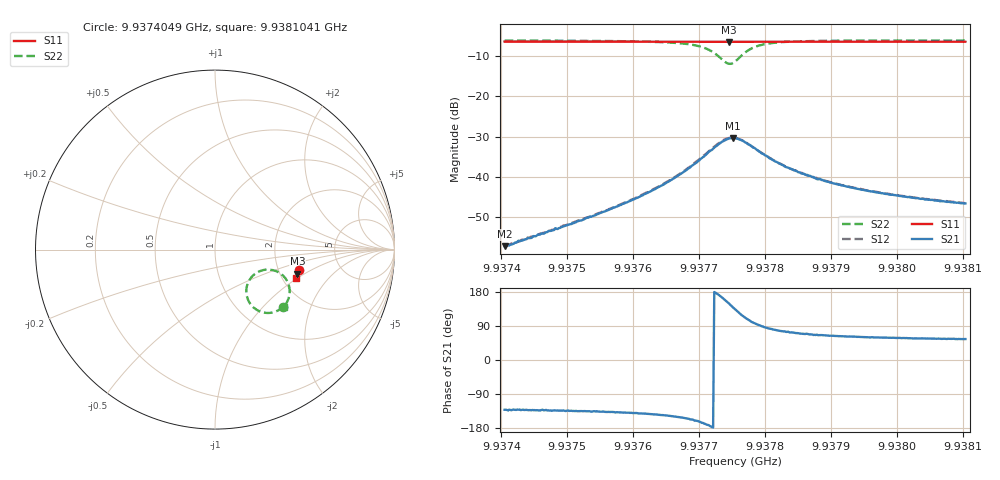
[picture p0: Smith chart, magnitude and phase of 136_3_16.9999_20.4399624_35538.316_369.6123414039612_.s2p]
#  HZ  S  RI  R  50.00
! Rohde & Schwarz Vector Network Analyzer
! Rohde-Schwarz,ZNB20-2Port,1311601062101988,3.16
! Created: UTC 3/20/2024, 10:58:09 PM
! freq[Hz]  re:S11  im:S11  re:S21  im:S21  re:S12  im:S12  re:S22  im:S22
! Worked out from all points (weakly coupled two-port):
!   401 points, 9.9374049 GHz to 9.9381041 GHz, reference 50 ohm
!   highest |S21| = -30.35 dB at 9.937751 GHz (marker M1); lowest = -57.3 dB at 9.9374049 GHz (marker M2)
!   lowest |S11| = -6.4 dB at 9.9377458 GHz (marker M3), VSWR 2.83, Z = 124 - j43.2 ohm
!   |S11| at or under -10 dB: nowhere
!   |S22| runs from -11.9 to -6.0 dB; largest |S21 - S12| = 0.0014
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9.93740491e9  0.4696 -0.1132  -0.0009 -0.00102  -0.000951 -0.00101  0.3815 -0.3184
9.93742588e9  0.4691 -0.1146  -0.00105 -0.0012  -0.00105 -0.00115  0.3794 -0.3204
9.93752202e9  0.4669 -0.1212  -0.00201 -0.00203  -0.00208 -0.0021  0.3655 -0.3309
9.93757621e9  0.4655 -0.1248  -0.00317 -0.00286  -0.00327 -0.00287  0.3529 -0.3386
9.93761117e9  0.4647 -0.1274  -0.00443 -0.00359  -0.00456 -0.00362  0.34 -0.3445
9.93763914e9  0.4639 -0.1292  -0.00609 -0.00436  -0.00626 -0.00432  0.3245 -0.3495
9.93767585e9  0.4627 -0.1319  -0.0101 -0.00526  -0.0104 -0.00516  0.289 -0.3529
9.93770906e9  0.461 -0.1341  -0.018 -0.00365  -0.0185 -0.00346  0.2252 -0.3305
9.93771954e9  0.4602 -0.1345  -0.0215 -0.00114  -0.0224 -0.00058  0.1981 -0.3044
9.93773178e9  0.4593 -0.1347  -0.0257 0.00488  -0.0262 0.00586  0.1757 -0.2493
9.93774052e9  0.4589 -0.1344  -0.0264 0.0113  -0.0268 0.0126  0.1801 -0.1955
9.93774576e9  0.4587 -0.1342  -0.0256 0.0157  -0.0253 0.017  0.1958 -0.1634
9.93775101e9  0.4588 -0.1341  -0.0231 0.0197  -0.0226 0.0208  0.2211 -0.1367
9.9377545e9  0.459 -0.1342  -0.021 0.0218  -0.0203 0.0228  0.2417 -0.1237
9.93776324e9  0.4595 -0.1341  -0.0146 0.0247  -0.0139 0.0255  0.2963 -0.1112
9.93777373e9  0.4602 -0.1347  -0.0076 0.0245  -0.00679 0.025  0.3501 -0.1242
9.93779296e9  0.4606 -0.1363  -0.000318 0.0202  0.000242 0.0203  0.3998 -0.1713
9.93783316e9  0.4602 -0.1396  0.00362 0.0126  0.00396 0.0126  0.4163 -0.2378
9.93787162e9  0.4595 -0.1425  0.00381 0.00914  0.00412 0.00907  0.4114 -0.2677
9.93792581e9  0.4581 -0.1463  0.00354 0.00661  0.00368 0.00663  0.4027 -0.2893
9.93798873e9  0.4565 -0.1505  0.00314 0.00512  0.0033 0.00513  0.3945 -0.3033
9.9381041e9  0.4535 -0.1581  0.00265 0.00383  0.00276 0.00376  0.3832 -0.3189
